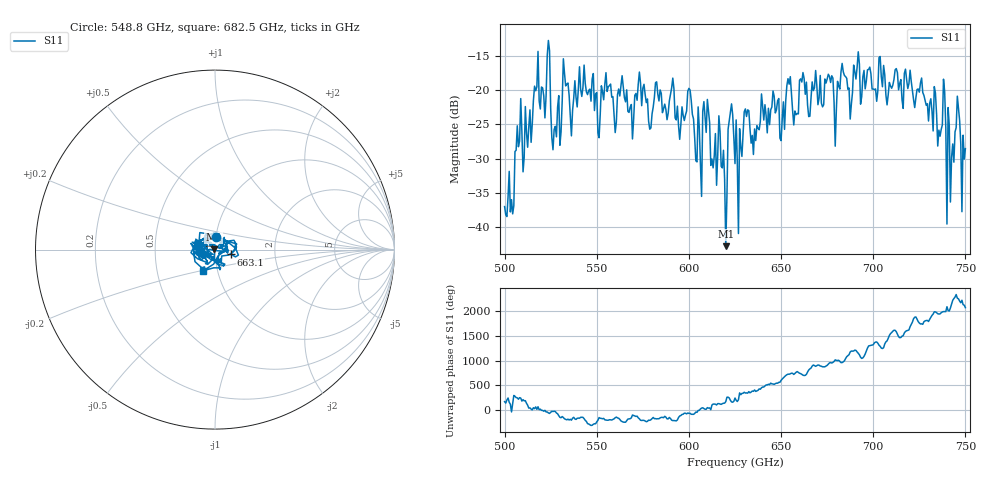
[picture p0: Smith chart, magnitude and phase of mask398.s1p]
!Created with skrf (http://scikit-rf.org).
# GHz S MA R 50.0
!freq magS11 angS11
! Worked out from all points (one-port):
!   401 points, 500 GHz to 750 GHz, reference 50 ohm
!   lowest |S11| = -42.7 dB at 620 GHz (marker M1), VSWR 1.01, Z = 49.3 + j0.0779 ohm
!   |S11| at or under -10 dB: start of sweep to end of sweep
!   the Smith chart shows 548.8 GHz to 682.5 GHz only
!   S11 on the Smith chart (normalised r, x): 548.8 GHz: 1.00, +0.14; 663.1 GHz: 1.19, -0.06; 682.5 GHz: 0.85, -0.20
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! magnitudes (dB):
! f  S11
! 500 GHz  -37.0
! 516.9 GHz  -20.1
! 523.8 GHz  -12.8
! 526.9 GHz  -25.7
! 531.2 GHz  -21.6
! 548.8 GHz  -23.0
! 562.5 GHz  -20.9
! 590.6 GHz  -19.7
! 593.8 GHz  -22.4
! 600.6 GHz  -20.0
! 605.6 GHz  -25.5
! 609.4 GHz  -26.2
! 620 GHz  -42.7
! 622.5 GHz  -23.3
! 625 GHz  -30.7
! 627.5 GHz  -25.6
! 631.2 GHz  -23.9
! 635 GHz  -29.4
! 656.2 GHz  -23.0
! 663.1 GHz  -20.6
! 682.5 GHz  -17.4
! 687.5 GHz  -24.2
! 690.6 GHz  -18.4
! 718.8 GHz  -19.8
! 738.1 GHz  -18.4
! 741.2 GHz  -25.2
! 745.6 GHz  -20.9
! 750 GHz  -28.5
